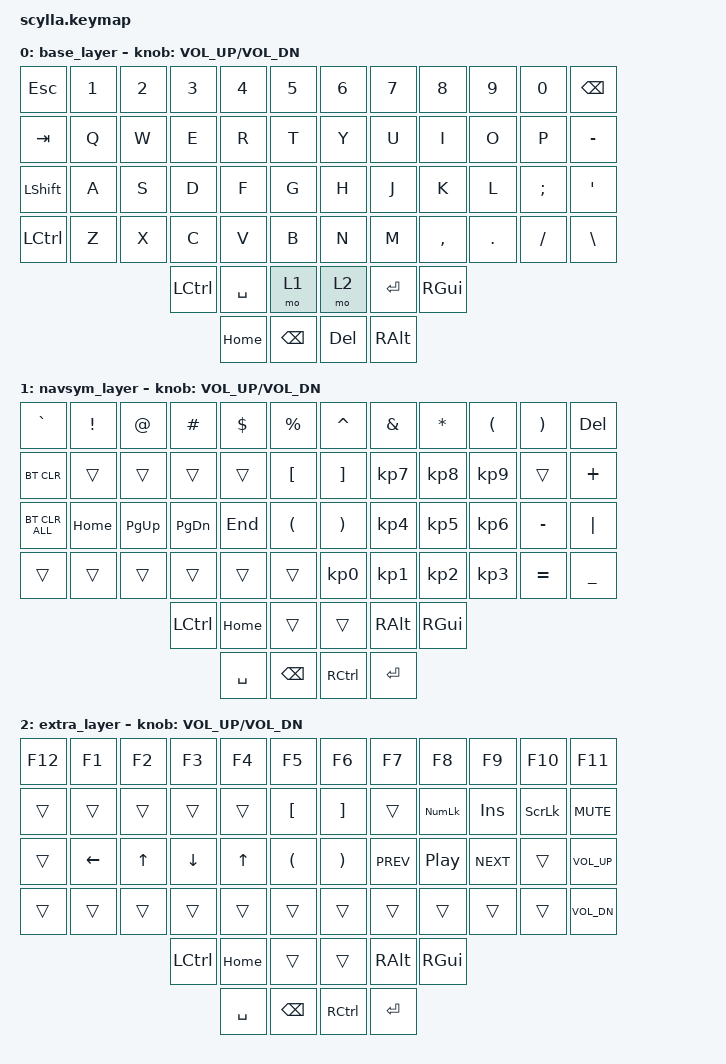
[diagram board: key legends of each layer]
/*
 * Scylla default keymap.
 * Based in https://docs.bastardkb.com/fw/default-keymaps.html#scylla
 */

#include <behaviors.dtsi>
#include <dt-bindings/zmk/keys.h>
#include <dt-bindings/zmk/bt.h>
#include <dt-bindings/zmk/ext_power.h>

#define __NONE__ &trans

/ {
    keymap {
        compatible = "zmk,keymap";


// □ = no key assigned
// ■ = layer being pressed

        base_layer {
// --------------------------------------------------------------------------------------------------------------
// |  ESC  |   1   |   2   |   3   |   4    |   5    |        |    6   |    7   |   8   |   9   |   0   |  BSPC |
// |  TAB  |   Q   |   W   |   E   |   R    |   T    |        |    Y   |    U   |   I   |   O   |   P   |   -   |
// | SHIFT |   A   |   S   |   D   |   F    |   G    |        |    H   |    J   |   K   |   L   |   ;   |  ' "  |
// | CTRL  |   Z   |   X   |   C   |   V    |   B    |        |    N   |    M   |  , <  |  . >  |   /   |   \   |
//                         |  CTRL |  SPACE | NAVSYM |        |  EXTRA |  ENTER |  GUI  |  
//                                 |  HOME  |  BSPC  |        |   DEL  |   ALT  |
            bindings = <
&kp ESC     &kp N1  &kp N2  &kp N3     &kp N4     &kp N5         &kp N6    &kp N7    &kp N8     &kp N9   &kp N0    &kp BSPC
&kp TAB     &kp Q   &kp W   &kp E      &kp R      &kp T          &kp Y     &kp U     &kp I      &kp O    &kp P     &kp MINUS
&kp LSHFT   &kp A   &kp S   &kp D      &kp F      &kp G          &kp H     &kp J     &kp K      &kp L    &kp SEMI  &kp SQT
&kp LCTRL   &kp Z   &kp X   &kp C      &kp V      &kp B          &kp N     &kp M     &kp COMMA  &kp DOT  &kp FSLH  &kp BSLH
                            &kp LCTRL  &kp SPACE  &mo 1          &mo 2     &kp RET   &kp RGUI
                                       &kp HOME   &kp BSPC       &kp DEL   &kp RALT
            >;

            sensor-bindings = <&inc_dec_kp C_VOL_UP C_VOL_DN>;
        };

        navsym_layer {
// ---------------------------------------------------------------------------------------------------------------
// |   ~    |   !   |   @   |   #   |   $    |   %    |        |    ^   |    &   |   *   |   (   |   )   |  DEL  |
// | BT_CLR |   □   |   □   |   □   |   □    |   [    |        |    ]   |    7   |   8   |   9   |   □   |   +   |
// |BTCLRALL| HOME  |  PGUP |  PGDN |  END   |   (    |        |    )   |    4   |   5   |   6   |   -   |   |   |
// |   □    |   □   |   □   |   □   |   □    |   □    |        |    0   |    1   |   2   |   3   |   =   |   _   |
//                          |  CTRL |  HOME  |   ■    |        |    □   |   ALT  |  GUI  |  
//                                  |  SPACE |  BSPC  |        |   CTRL |  ENTER |
            bindings = <
&kp GRAVE       &kp EXCL  &kp AT     &kp HASH   &kp DLLR   &kp PRCNT       &kp CARET  &kp AMPS   &kp ASTRK  &kp LPAR   &kp RPAR   &kp DEL
&bt BT_CLR      __NONE__  __NONE__   __NONE__   __NONE__   &kp LBKT        &kp RBKT   &kp KP_N7  &kp KP_N8  &kp KP_N9  __NONE__   &kp PLUS
&bt BT_CLR_ALL  &kp HOME  &kp PG_UP  &kp PG_DN  &kp END    &kp LPAR        &kp RPAR   &kp KP_N4  &kp KP_N5  &kp KP_N6  &kp MINUS  &kp PIPE
__NONE__        __NONE__  __NONE__   __NONE__   __NONE__   __NONE__        &kp KP_N0  &kp KP_N1  &kp KP_N2  &kp KP_N3  &kp EQUAL  &kp UNDER
                                     &kp LCTRL  &kp HOME   __NONE__        __NONE__   &kp RALT   &kp RGUI 
                                                &kp SPACE  &kp BSPC        &kp RCTRL  &kp RET 
            >;

            sensor-bindings = <&inc_dec_kp C_VOL_UP C_VOL_DN>;
        };

        extra_layer {
// ---------------------------------------------------------------------------------------------------------------------------
// |   F12  |   F1  |   F2  |   F3  |   F4   |   F5   |        |    F6  |    F7  |     F8     |   F9  |     F10    |   F11   |
// |   □    |   □   |   □   |   □   |   □    |   [    |        |    ]   |    □   |   NUMLOCK  |  INS  | SCROLLLOCK |   MUTE  |
// |   □    |   ←   |   ↑   |   ↓   |   →    |   (    |        |    )   |   PREV | PLAY/PAUSE |  NEXT |      □     |  VOLUP  |
// |   □    |   □   |   □   |   □   |   □    |   □    |        |    □   |    □   |      □     |   □   |      □     | VOLDOWN |
//                          |  CTRL |  HOME  |   □    |        |    ■   |   ALT  |     GUI    |  
//                                  |  SPACE |  BSPC  |        |   CTRL |  ENTER |
            bindings = <
&kp F12   &kp F1    &kp F2    &kp F3     &kp F4     &kp F5          &kp F6     &kp F7      &kp F8      &kp F9      &kp F10   &kp F11
__NONE__  __NONE__  __NONE__  __NONE__   __NONE__   &kp LBKT        &kp RBKT   __NONE__    &kp KP_NUM  &kp INS     &kp SLCK  &kp C_MUTE
__NONE__  &kp LEFT  &kp UP    &kp DOWN   &kp UP     &kp LPAR        &kp RPAR   &kp C_PREV  &kp C_PP    &kp C_NEXT  __NONE__  &kp C_VOL_UP
__NONE__  __NONE__  __NONE__  __NONE__   __NONE__   __NONE__        __NONE__   __NONE__    __NONE__    __NONE__    __NONE__  &kp C_VOL_DN
                              &kp LCTRL  &kp HOME   __NONE__        __NONE__   &kp RALT    &kp RGUI 
                                         &kp SPACE  &kp BSPC        &kp RCTRL  &kp RET 
            >;

            sensor-bindings = <&inc_dec_kp C_VOL_UP C_VOL_DN>;
        };
    };
};
